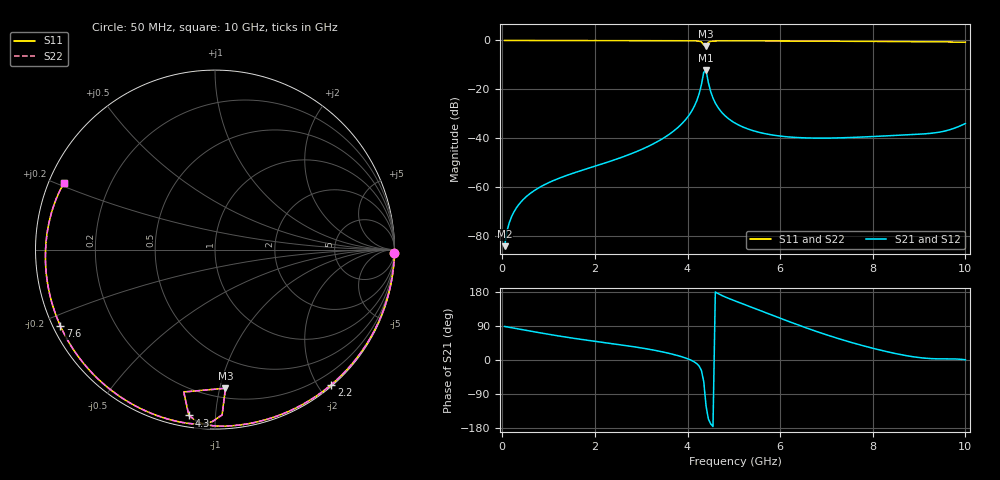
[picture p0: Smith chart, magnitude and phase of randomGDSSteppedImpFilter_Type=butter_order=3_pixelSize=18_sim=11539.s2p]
! freq	dB(S11)	phase(S11)	dB(S12)	phase(S12)
!  dB(S21)	phase(S21)	dB(S22)	phase(S22)
!S-par simulation data
#  GHz  S  DB  R 50
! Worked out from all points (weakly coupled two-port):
!   200 points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, 50 MHz to 10 GHz, reference 50 ohm
!   highest |S21| = -12.30 dB at 4.4 GHz (marker M1); lowest = -84.3 dB at 50 MHz (marker M2)
!   lowest |S11| = -2.2 dB at 4.4 GHz (marker M3), VSWR 7.88, Z = 13.5 - j52.1 ohm
!   |S11| at or under -10 dB: nowhere
!   |S22| runs from -2.2 to 0.0 dB; largest |S21 - S12| = 0
!   S11 on the Smith chart (normalised r, x): 50 MHz: open; 2.2 GHz: 0.02, -2.18; 4.3 GHz: 0.06, -0.85; 7.6 GHz: 0.02, -0.23; 10 GHz: 0.04, +0.21
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0.05  -0.00 -1.2  -84.33 88.5  -84.33 88.5  -0.00 -1.2
0.25  -0.01 -5.7  -70.34 84.1  -70.34 84.1  -0.01 -5.7
0.55  -0.02 -12.6  -63.51 77.4  -63.51 77.4  -0.02 -12.6
1  -0.03 -22.8  -58.31 67.8  -58.31 67.8  -0.03 -22.7
1.75  -0.05 -39.4  -53.04 53.6  -53.04 53.6  -0.05 -39.4
2.2  -0.06 -49.3  -50.34 46.0  -50.34 46.0  -0.06 -49.2
3.4  -0.10 -74.7  -40.94 22.9  -40.94 22.9  -0.10 -74.7
4  -0.14 -87.8  -31.47 3.4  -31.47 3.4  -0.14 -87.7
4.2  -0.22 -93.5  -24.68 -9.6  -24.68 -9.6  -0.22 -93.5
4.3  -0.58 -99.0  -18.14 -27.6  -18.14 -27.6  -0.58 -98.9
4.35  -1.81 -102.4  -13.02 -57.0  -13.02 -57.0  -1.81 -102.4
4.4  -2.22 -85.7  -12.30 -121.7  -12.30 -121.7  -2.21 -85.7
4.5  -0.37 -90.9  -20.97 -168.6  -20.97 -168.6  -0.37 -90.8
4.6  -0.22 -94.9  -25.65 179.6  -25.65 179.6  -0.22 -94.8
4.8  -0.18 -100.0  -30.69 167.0  -30.69 167.0  -0.18 -100.0
5.05  -0.17 -105.4  -34.13 154.8  -34.13 154.8  -0.17 -105.3
5.75  -0.21 -119.0  -38.49 122.0  -38.49 122.0  -0.21 -119.0
6.7  -0.27 -136.8  -40.01 78.9  -40.01 78.9  -0.27 -136.7
7.6  -0.35 -153.7  -39.73 44.1  -39.73 44.1  -0.35 -153.6
8.35  -0.43 -168.1  -39.06 20.8  -39.06 20.8  -0.43 -168.1
9.4  -0.57 170.1  -37.71 3.1  -37.71 3.1  -0.57 170.2
10  -0.73 156.1  -34.04 0.7  -34.04 0.7  -0.73 156.2
